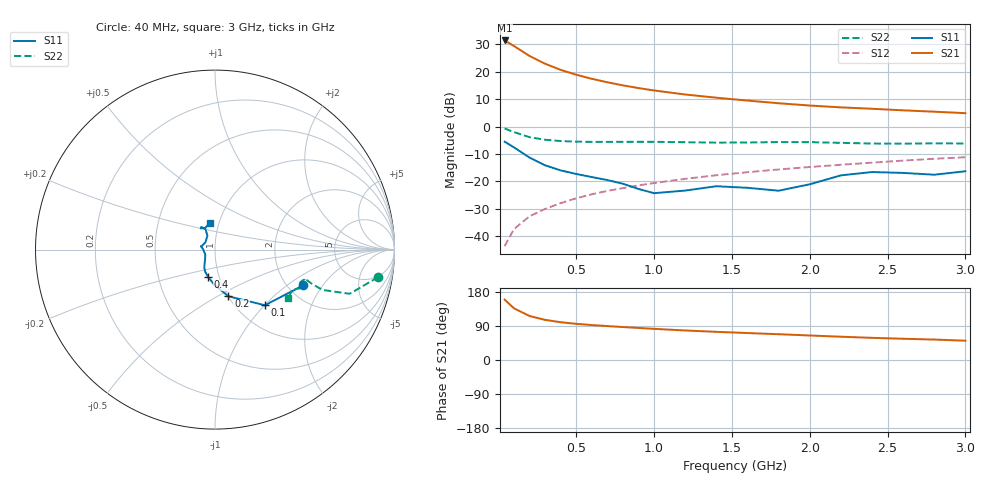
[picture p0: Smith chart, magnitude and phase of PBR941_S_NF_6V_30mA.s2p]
! Filename:  PBR941Q.S2P  Version:  3.0
! Philips part #:  PBR941  Date: July 1998
! Bias condition:  Vce=6V, Ic=30mA
#  MHz  S  MA  R 50
! Freq  S11  S21  S12  S22
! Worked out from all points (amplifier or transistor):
!   21 points, 40 MHz to 3 GHz, reference 50 ohm
!   highest |S21| = 31.4 dB at 40 MHz (marker M1)
!   |S21| within 3 dB of that: start of sweep to 126.7 MHz
!   unconditionally stable (mu >= 1): 548.8 MHz to 2.229 GHz
!   at 300 MHz: K = 0.91, MSG = 26.5 dB, |S12| = -30.1 dB
!   at 1 GHz: K = 1.04, MAG = 15.7 dB, |S12| = -20.6 dB
!   at 3 GHz: K = 0.97, MSG = 8.0 dB, |S12| = -11.2 dB
!   lowest NFmin = 2.69 dB at 500 MHz
!   S11 on the Smith chart (normalised r, x): 40 MHz: 2.40, -1.33; 100 MHz: 1.34, -1.00; 200 MHz: 1.00, -0.56; 400 MHz: 0.89, -0.28; 3 GHz: 0.91, +0.28
40  0.5292 -22.2  37.29 159.5  0.006528 80.2  0.9215 -9.6
100  0.4165 -48.1  29.52 136.4  0.01337 74.4  0.7893 -18.2
200  0.2706 -74.0  19.43 116.1  0.02295 73.7  0.639 -20.6
300  0.1955 -91.2  14 105.9  0.03124 76.3  0.5733 -19.5
400  0.1581 -103.7  10.83 99.7  0.03993 77.6  0.5429 -18.5
500  0.1357 -113.5  8.83 95.4  0.04881 78.8  0.529 -18.0
600  0.1194 -119.6  7.439 92.2  0.05788 79.5  0.5237 -17.8
700  0.1052 -123.9  6.423 89.5  0.06668 80.2  0.5235 -17.9
800  0.09018 -129.2  5.644 87.0  0.07499 80.6  0.525 -18.0
900  0.07241 -139.1  5.033 84.5  0.08408 80.5  0.5254 -18.2
1000  0.06058 -154.2  4.554 82.2  0.09286 80.4  0.5251 -18.4
1200  0.06767 176.2  3.844 77.9  0.1109 80.2  0.5166 -19.5
1400  0.08118 166.9  3.359 74.3  0.1289 79.7  0.5082 -21.2
1600  0.07599 164.2  2.977 71.1  0.1465 79.4  0.5108 -22.9
1800  0.0672 143.1  2.66 68.0  0.1643 79.1  0.5196 -24.1
2000  0.08808 118.6  2.415 64.7  0.182 78.3  0.5183 -24.8
2200  0.1282 114.8  2.237 61.4  0.2001 77.1  0.503 -25.8
2400  0.1475 121.3  2.11 58.5  0.2187 76.5  0.4883 -28.0
2600  0.1421 124.1  1.975 56.0  0.2386 75.9  0.4864 -30.9
2800  0.1318 115.6  1.865 53.9  0.2575 75.2  0.4931 -32.9
3000  0.1523 100.3  1.753 50.9  0.2749 74.0  0.4897 -33.5
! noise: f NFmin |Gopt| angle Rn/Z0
500  2.693  0.021  -140.4  0.278
900  2.762  0.124  -142.9  0.215
1000  2.831  0.098  -135.9  0.258
2000  3.554  0.269  -110.1  0.446
